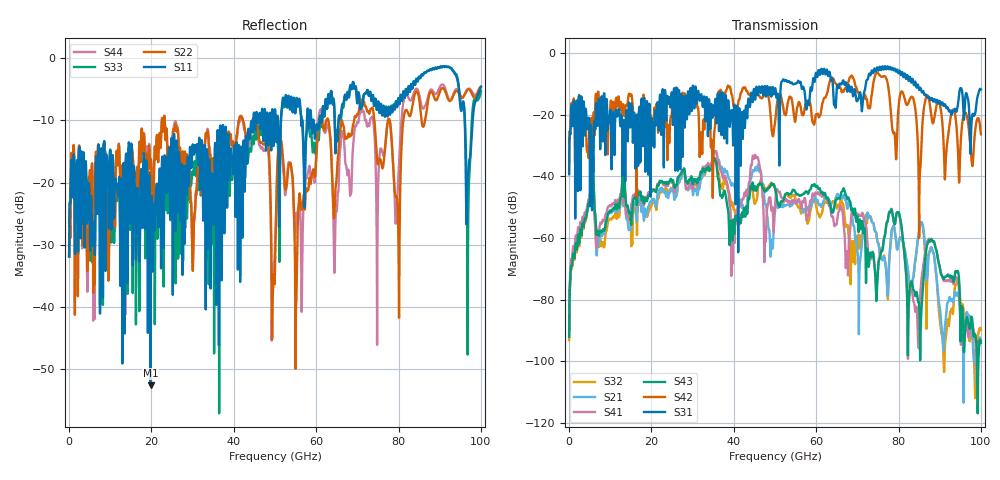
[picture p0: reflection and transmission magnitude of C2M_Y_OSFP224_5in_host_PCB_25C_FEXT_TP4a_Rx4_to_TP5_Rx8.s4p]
# GHz S RI R 45
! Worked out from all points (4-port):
!   4000 points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, 25 MHz to 100 GHz, reference 45 ohm
!   strongest paths, dB at 25 MHz, 25.02 GHz, 50.02 GHz, 75.03 GHz, 100 GHz:
!     S31: -39.3, -13.4, -11.4, -5.3, -11.7
!     S42: -38.9, -17.7, -22.6, -6.5, -26.3
!     S43: -92.1, -41.6, -43.7, -70.5, -94.1
!     S41: -90.1, -42.1, -49.4, -69.8, -93.1
!     S21: -91.6, -44.7, -51.3, -61.6, -93.5
!     S32: -93.2, -44.5, -44.1, -61.7, -89.8
!   lowest |S11| = -52.6 dB at 19.8 GHz (marker M1), VSWR 1.00, Z = 45.2 - j0.127 ohm
!   |S11| at or under -10 dB: start of sweep to 44.74 GHz; 59.38 GHz to 60.78 GHz (1.401 GHz wide, 2.33 % of centre); 96.08 GHz to 98 GHz (1.929 GHz wide, 1.99 % of centre)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
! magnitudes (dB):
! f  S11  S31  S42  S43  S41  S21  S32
! 25 MHz  -31.9  -39.3  -38.9  -92.1  -90.1  -91.6  -93.2
! 5.575 GHz  -26.4  -42.8  -21.1  -41.3  -41.1  -41.3  -41.6
! 19.8 GHz  -52.6  -37.5  -20.5  -45.4  -44.6  -48.4  -49.9
! 39.83 GHz  -18.5  -29.5  -16.3  -54.4  -59.1  -42.5  -49.7
! 45.1 GHz  -10.5  -13.8  -13.5  -43.4  -33.3  -38.0  -48.9
! 49.62 GHz  -12.5  -12.5  -26.3  -42.6  -56.2  -59.3  -42.5
! 100 GHz  -4.6  -11.7  -26.3  -94.1  -93.1  -93.5  -89.8
